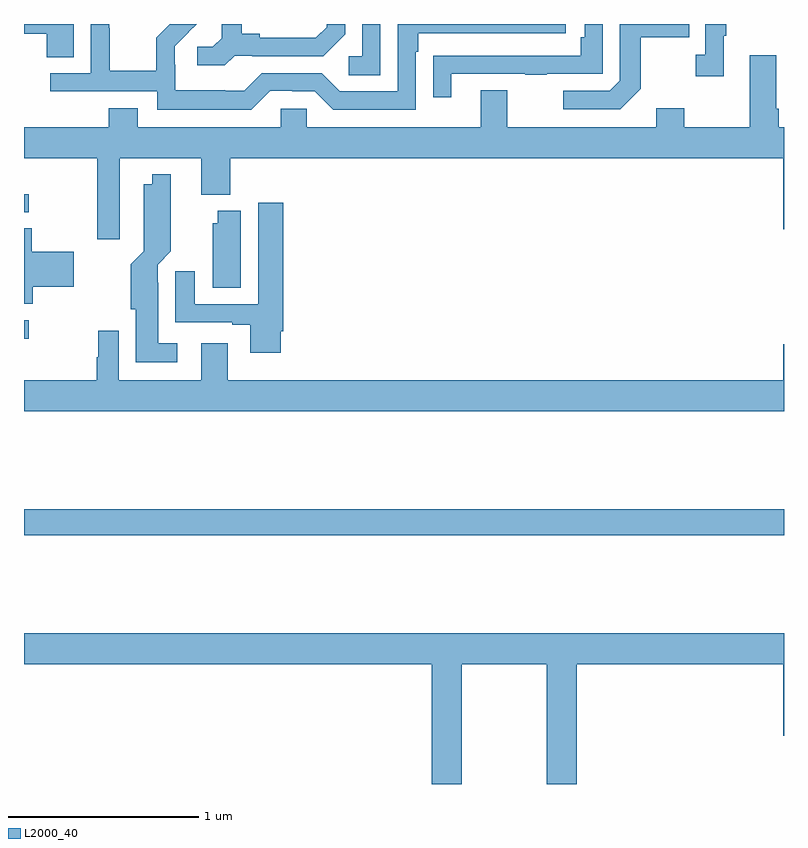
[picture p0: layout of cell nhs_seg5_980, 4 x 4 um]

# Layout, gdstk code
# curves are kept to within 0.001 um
import gdstk
lib = gdstk.Library(unit=1e-6, precision=1e-09)
def R(c, l, rs):  # rectangles x0, y0, x1, y1
    for r in rs: c.add(gdstk.rectangle(r[:2], r[2:], *l))
def P(c, l, *ps):  # polygons
    for p in ps: c.add(gdstk.Polygon(p, *l))
L2000_40 = (2000, 40)

nhs_seg5_980 = lib.new_cell('nhs_seg5_980')
R(nhs_seg5_980, L2000_40, [(173,856.108,177,856.244), (173,857.143,173.026,857.241), (173,857.808,173.026,857.904)])
P(nhs_seg5_980, L2000_40, [(174.876,858.799),(174.78,858.799),(174.78,858.63),(174.708,858.63),(174.708,858.529),(174.876,858.529)],
  [(173.263,858.799),(173,858.799),(173,858.749),(173.12,858.749),(173.12,858.625),(173.263,858.625)],
  [(176.683,858.737),(176.695,858.737),(176.695,858.799),(176.586,858.799),(176.586,858.638),(176.535,858.638),(176.535,858.525),(176.683,858.525)],
  [(176.245,858.457),(176.245,858.73),(176.501,858.73),(176.501,858.799),(176.136,858.799),(176.136,858.501),(176.082,858.447),(175.839,858.447),(175.839,858.351),(176.139,858.351)],
  [(175.249,858.537),(175.639,858.537),(175.639,858.532),(175.751,858.532),(175.751,858.537),(176.046,858.537),(176.046,858.799),(175.95,858.799),(175.95,858.73),(175.93,858.73),(175.93,858.633),(175.255,858.633),(175.255,858.632),(175.153,858.632),(175.153,858.414),(175.249,858.414)],
  [(174.297,858.447),(174.413,858.447),(174.413,858.444),(174.531,858.444),(174.627,858.348),(175.062,858.348),(175.062,858.653),(175.075,858.653),(175.075,858.75),(175.852,858.75),(175.852,858.799),(174.966,858.799),(174.966,858.444),(174.663,858.444),(174.567,858.54),(174.252,858.54),(174.159,858.447),(174.059,858.447),(174.059,858.451),(173.796,858.451),(173.796,858.585),(173.794,858.585),(173.794,858.682),(173.909,858.799),(173.767,858.799),(173.695,858.727),(173.695,858.553),(173.451,858.553),(173.451,858.776),(173.448,858.776),(173.448,858.799),(173.352,858.799),(173.352,858.54),(173.139,858.54),(173.139,858.444),(173.7,858.444),(173.7,858.347),(174.197,858.347)],
  [(174.108,858.633),(174.202,858.633),(174.202,858.63),(174.574,858.63),(174.69,858.746),(174.69,858.799),(174.593,858.799),(174.593,858.783),(174.536,858.726),(174.241,858.726),(174.241,858.749),(174.145,858.749),(174.145,858.799),(174.041,858.799),(174.041,858.725),(173.994,858.678),(173.913,858.678),(173.913,858.581),(174.056,858.581)],
  [(173.503,858.092),(173.933,858.092),(173.933,857.9),(174.086,857.9),(174.086,858.092),(176.996,858.092),(176.996,857.718),(177,857.718),(177,858.256),(176.972,858.256),(176.972,858.352),(176.959,858.352),(176.959,858.634),(176.819,858.634),(176.819,858.256),(176.475,858.256),(176.475,858.355),(176.327,858.355),(176.327,858.256),(175.543,858.256),(175.543,858.451),(175.403,858.451),(175.403,858.256),(174.489,858.256),(174.489,858.354),(174.351,858.354),(174.351,858.256),(173.599,858.256),(173.599,858.355),(173.447,858.355),(173.447,858.256),(173,858.256),(173,858.092),(173.386,858.092),(173.386,857.667),(173.503,857.667)],
  [(173.806,857.119),(173.707,857.119),(173.707,857.438),(173.703,857.438),(173.703,857.532),(173.773,857.602),(173.772,858.007),(173.675,858.007),(173.675,857.956),(173.63,857.956),(173.63,857.602),(173.563,857.535),(173.563,857.298),(173.588,857.298),(173.588,857.018),(173.806,857.018)],
  [(174.352,857.182),(174.365,857.182),(174.365,857.857),(174.233,857.857),(174.233,857.325),(173.899,857.325),(173.899,857.497),(173.795,857.497),(173.795,857.229),(174.095,857.229),(174.095,857.217),(174.191,857.217),(174.191,857.07),(174.352,857.07)],
  [(174.142,857.815),(174.02,857.815),(174.02,857.751),(173.993,857.751),(173.993,857.41),(174.142,857.41)],
  [(173.045,857.417),(173.263,857.417),(173.263,857.6),(173.04,857.6),(173.04,857.723),(173,857.723),(173,857.326),(173.045,857.326)],
  [(177,857.113),(176.996,857.113),(176.996,856.924),(174.073,856.924),(174.073,857.119),(173.933,857.119),(173.933,856.924),(173.499,856.924),(173.499,857.185),(173.391,857.185),(173.391,857.046),(173.383,857.046),(173.383,856.924),(173,856.924),(173,856.76),(177,856.76)],
  [(175.305,855.428),(175.75,855.428),(175.75,854.799),(175.91,854.799),(175.91,855.428),(176.996,855.428),(176.996,855.054),(177,855.054),(177,855.592),(173,855.592),(173,855.428),(175.145,855.428),(175.145,854.799),(175.305,854.799)])

lib.write_gds('nhs_seg5_980.gds')
